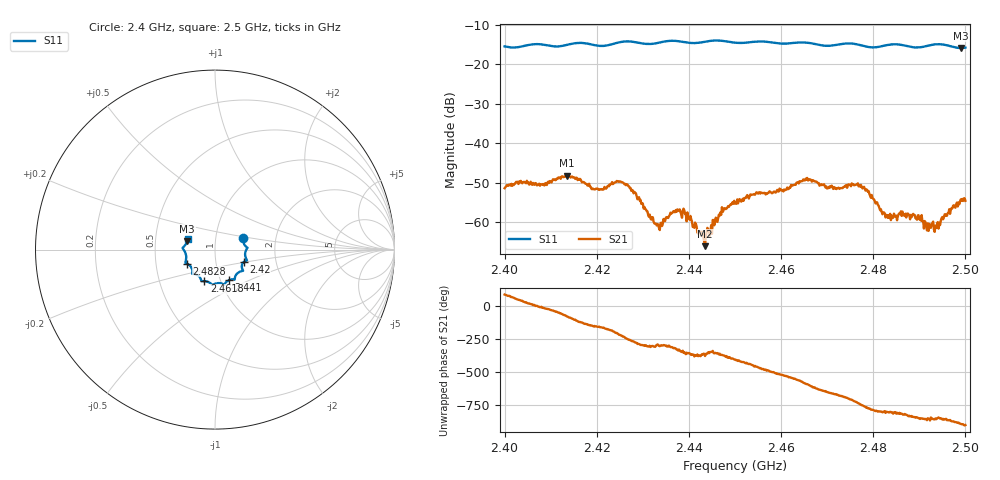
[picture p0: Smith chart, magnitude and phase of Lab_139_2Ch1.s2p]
# Hz S RI R 50
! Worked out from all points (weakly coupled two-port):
!   601 points, 2.4 GHz to 2.5 GHz, reference 50 ohm
!   highest |S21| = -48.21 dB at 2.4135 GHz (marker M1); lowest = -66.2 dB at 2.4435 GHz (marker M2)
!   lowest |S11| = -15.8 dB at 2.499 GHz (marker M3), VSWR 1.39, Z = 36.5 + j3.5 ohm
!   |S11| at or under -10 dB: start of sweep to end of sweep
!   S12 and S22 are empty: the file has one direction only
!   S11 on the Smith chart (normalised r, x): 2.4 GHz: 1.36, +0.18; 2.42 GHz: 1.36, -0.20; 2.441 GHz: 1.10, -0.39; 2.4618 GHz: 0.84, -0.30; 2.4828 GHz: 0.72, -0.12; 2.5 GHz: 0.73, +0.09
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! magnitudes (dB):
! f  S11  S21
! 2.4 GHz  -15.4  -51.4
! 2.4087 GHz  -15.0  -50.7
! 2.4135 GHz  -15.0  -48.2
! 2.4167 GHz  -14.5  -49.7
! 2.42 GHz  -15.2  -51.5
! 2.4262 GHz  -14.2  -50.3
! 2.4333 GHz  -14.5  -60.7
! 2.4375 GHz  -14.1  -56.8
! 2.441 GHz  -14.6  -60.9
! 2.4435 GHz  -14.2  -66.2
! 2.4473 GHz  -14.0  -57.5
! 2.45 GHz  -14.5  -55.3
! 2.4618 GHz  -14.6  -51.2
! 2.4667 GHz  -14.7  -49.8
! 2.4702 GHz  -15.3  -51.4
! 2.477 GHz  -15.0  -50.7
! 2.4828 GHz  -15.1  -58.2
! 2.4833 GHz  -15.0  -58.3
! 2.4887 GHz  -15.6  -58.0
! 2.4937 GHz  -14.9  -61.5
! 2.499 GHz  -15.8  -54.3
! 2.5 GHz  -15.7  -54.6
